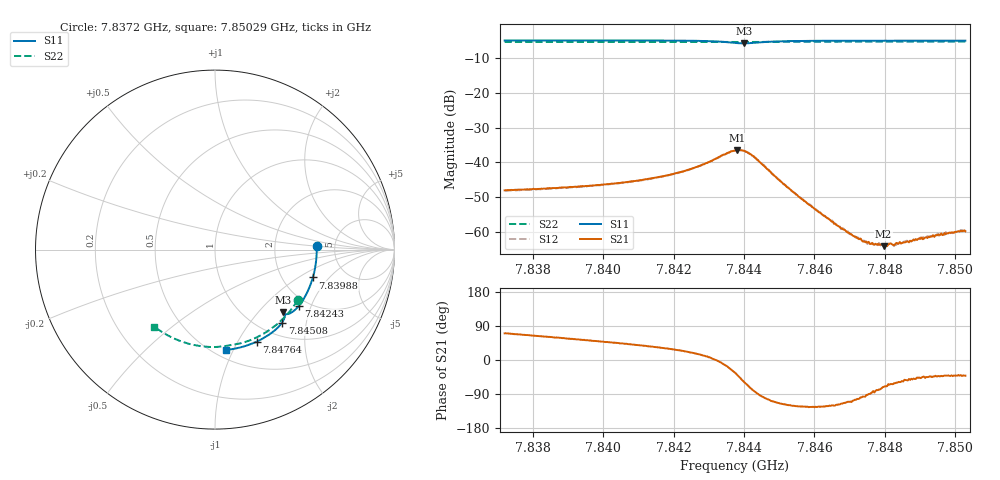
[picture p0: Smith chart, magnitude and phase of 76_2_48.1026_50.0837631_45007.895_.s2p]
#  HZ  S  RI  R  50.00
! Rohde & Schwarz Vector Network Analyzer
! Rohde-Schwarz,ZNB20-2Port,1311601062101988,3.16
! Created: UTC 12/23/2023, 3:42:17 AM
! freq[Hz]  re:S11  im:S11  re:S21  im:S21  re:S12  im:S12  re:S22  im:S22
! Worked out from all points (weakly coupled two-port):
!   401 points, 7.8372 GHz to 7.85029 GHz, reference 50 ohm
!   highest |S21| = -36.40 dB at 7.84381 GHz (marker M1); lowest = -64.1 dB at 7.84796 GHz (marker M2)
!   lowest |S11| = -5.8 dB at 7.844 GHz (marker M3), VSWR 3.12, Z = 72.5 - j68.8 ohm
!   |S11| at or under -10 dB: nowhere
!   |S22| runs from -5.4 to -5.3 dB; largest |S21 - S12| = 0.00033
!   S11 on the Smith chart (normalised r, x): 7.8372 GHz: 3.60, +0.23; 7.83988 GHz: 2.94, -1.34; 7.84243 GHz: 1.79, -1.64; 7.84508 GHz: 1.25, -1.46; 7.84764 GHz: 0.80, -1.20; 7.85029 GHz: 0.57, -0.94
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7.8372e9  0.5659 0.022  0.00133 0.00372  0.00134 0.00371  0.4599 -0.2822
7.839392e9  0.5535 -0.1232  0.00271 0.00364  0.00265 0.00357  0.3628 -0.4006
7.839883e9  0.5453 -0.1552  0.00308 0.00356  0.00305 0.00355  0.3366 -0.4232
7.840929e9  0.5212 -0.222  0.00415 0.00346  0.00411 0.00344  0.2765 -0.4651
7.841584e9  0.5009 -0.2628  0.00516 0.00337  0.00512 0.00334  0.236 -0.487
7.842434e9  0.4665 -0.3137  0.00734 0.00278  0.00731 0.00281  0.1809 -0.5103
7.843252e9  0.4178 -0.355  0.0116 -0.000459  0.0115 -0.000478  0.1254 -0.526
7.843743e9  0.3826 -0.3565  0.0123 -0.00816  0.0123 -0.00807  0.0926 -0.5312
7.843808e9  0.3801 -0.3542  0.0116 -0.00969  0.0116 -0.00936  0.0883 -0.5317
7.844005e9  0.3793 -0.3486  0.00769 -0.0126  0.0078 -0.0124  0.0761 -0.5337
7.844332e9  0.388 -0.3561  0.000966 -0.0114  0.000801 -0.0114  0.0549 -0.5376
7.845084e9  0.3737 -0.4067  -0.00221 -0.00457  -0.00223 -0.0046  0.00243 -0.5427
7.845935e9  0.3312 -0.4515  -0.00128 -0.00191  -0.00125 -0.00188  -0.0577 -0.5406
7.846982e9  0.2716 -0.4925  -0.000342 -0.000908  -0.000353 -0.000873  -0.1303 -0.5286
7.847407e9  0.2463 -0.5061  -8.57e-05 -0.000721  -6.64e-05 -0.000743  -0.1591 -0.5209
7.847636e9  0.2322 -0.5127  5.72e-05 -0.000688  4.69e-05 -0.000692  -0.1745 -0.5161
7.847963e9  0.212 -0.5215  0.000203 -0.000588  0.000177 -0.000634  -0.1962 -0.5084
7.848127e9  0.2018 -0.5256  0.000281 -0.000609  0.000269 -0.000619  -0.207 -0.5043
7.848323e9  0.1895 -0.5301  0.000349 -0.000599  0.000316 -0.000571  -0.2195 -0.4991
7.849043e9  0.1436 -0.5443  0.000576 -0.000599  0.000534 -0.0006  -0.265 -0.477
7.849763e9  0.0966 -0.5543  0.000716 -0.00063  0.000698 -0.000643  -0.3083 -0.4508
7.850286e9  0.0621 -0.5591  0.000765 -0.000675  0.00084 -0.000663  -0.3379 -0.4292
